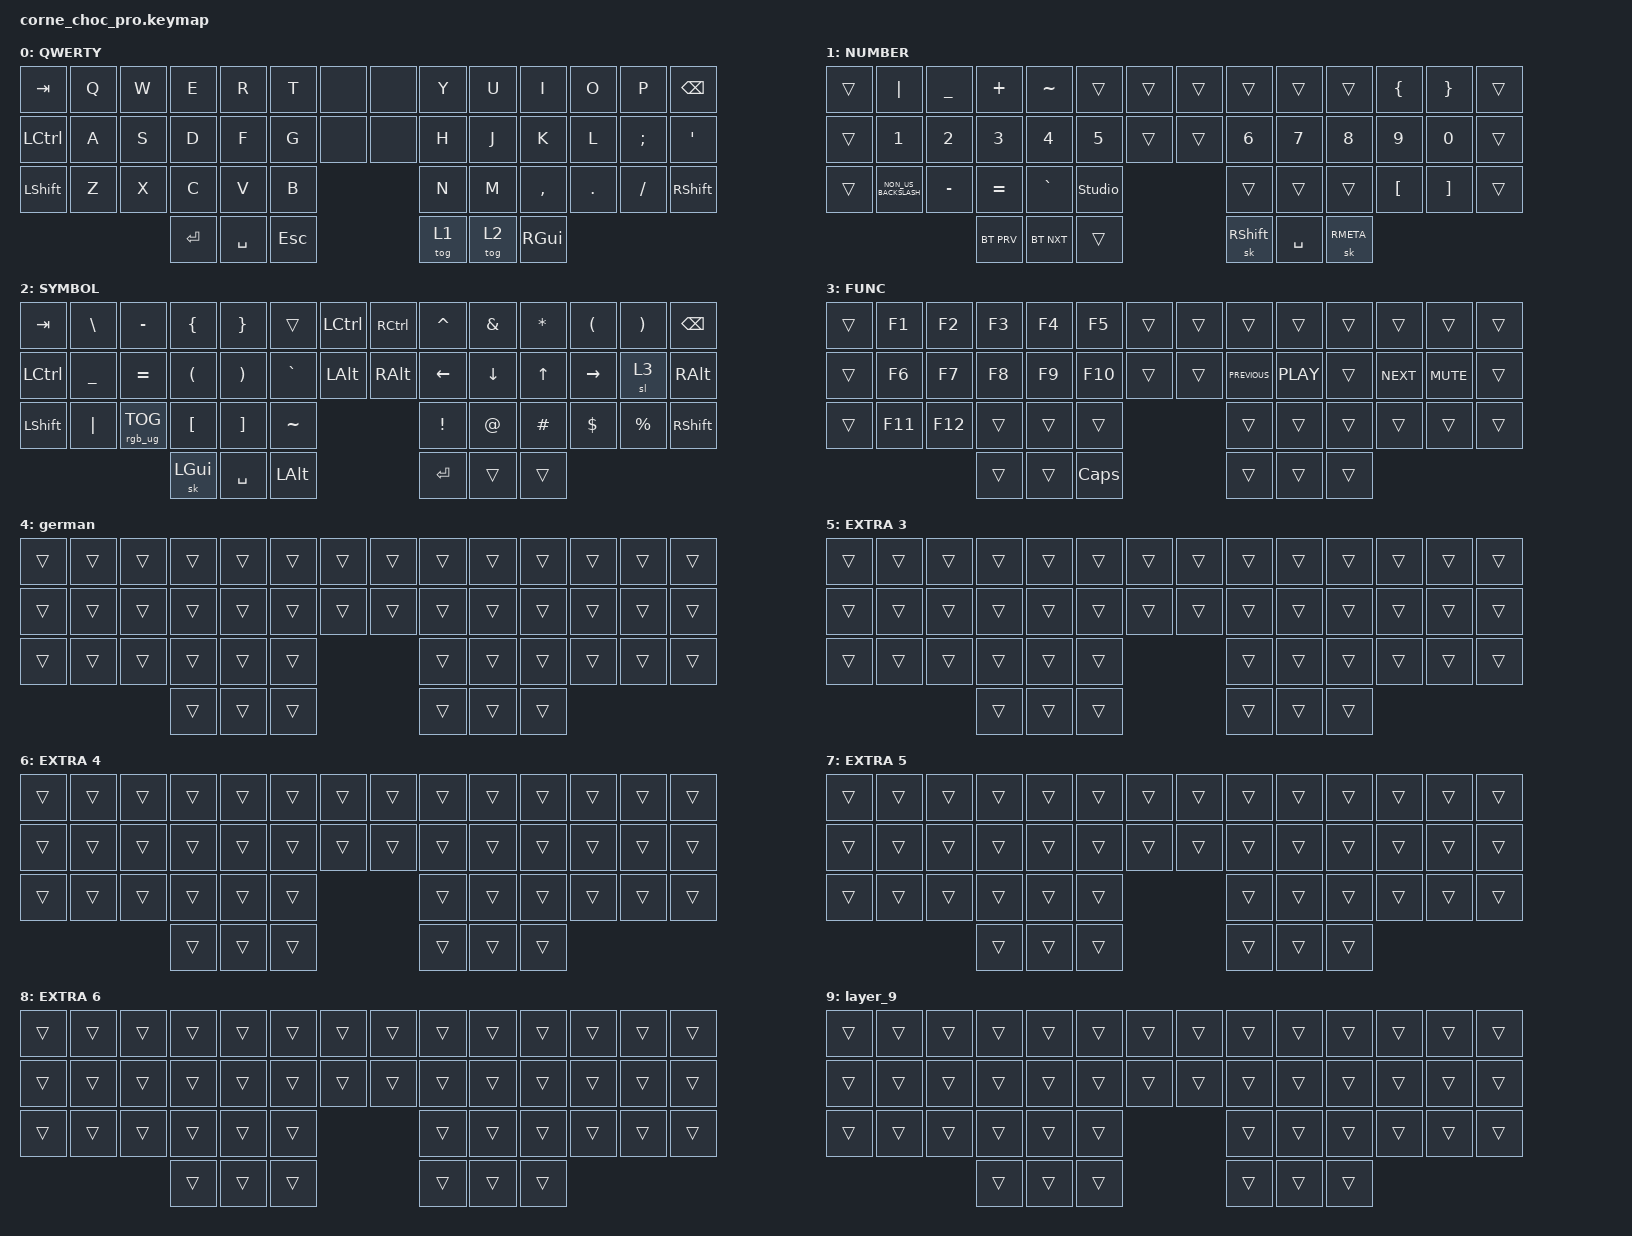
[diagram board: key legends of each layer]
/*
 * Copyright (c) 2020 The ZMK Contributors
 *
 * SPDX-License-Identifier: MIT
 */

#include <behaviors.dtsi>
#include <dt-bindings/zmk/bt.h>
#include <dt-bindings/zmk/keys.h>
#include <dt-bindings/zmk/rgb.h>

&sl { release-after-ms = <3000>; };

/ {
    chosen { zmk,physical-layout = &default_layout; };
};

/ {
    behaviors {
        hold_move_and_tap: hold_move_and_tap {
            compatible = "zmk,behavior-hold-tap";
            label = "HOLD_MOVE_AND_TAP";
            bindings = <&mo>, <&kp>;

            #binding-cells = <2>;
            hold-trigger-key-positions = <42 43>;
            tapping-term-ms = <150>;
            flavor = "hold-preferred";
        };
    };

    combos {
        compatible = "zmk,combos";

        esc_vim {
            bindings = <&kp ESCAPE>;
            key-positions = <22 23>;
        };
    };

    keymap {
        compatible = "zmk,keymap";

        default_layer {
            display-name = "QWERTY";

            // --------------------------------------------------------------------------------
            // |  TAB |  Q  |  W  |  E  |  R  |  T  |  MUTE |  PP   |  Y  |  U   |  I  |  O  |  P  | BSPC |
            // | CTRL |  A  |  S  |  D  |  F  |  G  |  LALT |  RALT |  H  |  J   |  K  |  L  |  ;  |  '   |
            // | SHFT |  Z  |  X  |  C  |  V  |  B  |               |  N  |  M   |  ,  |  .  |  /  | ESC  |
            //                    | GUI | LWR | SPC |               | ENT | RSE  | ALT |

            bindings = <
&kp TAB           &kp Q  &kp W  &kp E      &kp R      &kp T       &none  &none  &kp Y   &kp U   &kp I          &kp O    &kp P     &kp BSPC
&kp LEFT_CONTROL  &kp A  &kp S  &kp D      &kp F      &kp G       &none  &none  &kp H   &kp J   &kp K          &kp L    &kp SEMI  &kp SQT
&kp LSHFT         &kp Z  &kp X  &kp C      &kp V      &kp B                     &kp N   &kp M   &kp COMMA      &kp DOT  &kp FSLH  &kp RSHFT
                                &kp ENTER  &kp SPACE  &kp ESCAPE                &tog 1  &tog 2  &kp RIGHT_GUI
            >;
        };

        NUMBER {
            display-name = "NUMBER";

            // -----------------------------------------------------------------------------------------
            // |  TAB |  !  |  @  |  #  |  $  |  %  | LCTRL | RCTRL |  ^  |  &  |  *  |  (  |  )  | BSPC |
            // | CTRL | BT1 | BT2 | BT3 | BT4 | BT5   |  LALT  | RALT  | LFT | DWN |  UP | RGT |     |      |
            // | SHFT | BTCR| RGB | RST | BOOT| Unlock|        |       |     |     |     |     |     |      |
            //                    | GUI |     | SPC   |        | ENT   |     | ALT |

            bindings = <
&trans  &kp PIPE              &kp UNDERSCORE  &kp PLUS      &kp TILDE     &trans          &trans  &trans  &trans           &trans        &trans        &kp LEFT_BRACE    &kp RIGHT_BRACE    &trans
&trans  &kp NUMBER_1          &kp NUMBER_2    &kp NUMBER_3  &kp NUMBER_4  &kp NUMBER_5    &trans  &trans  &kp NUMBER_6     &kp NUMBER_7  &kp NUMBER_8  &kp NUMBER_9      &kp NUMBER_0       &trans
&trans  &kp NON_US_BACKSLASH  &kp MINUS       &kp EQUAL     &kp GRAVE     &studio_unlock                  &trans           &trans        &trans        &kp LEFT_BRACKET  &kp RIGHT_BRACKET  &trans
                                              &bt BT_PRV    &bt BT_NXT    &trans                          &sk RIGHT_SHIFT  &kp SPACE     &sk RMETA
            >;
        };

        SYMBOL {
            display-name = "SYMBOL";

            // -----------------------------------------------------------------------------------------
            // |  TAB |  !  |  @  |  #  |  $  |  %  | LCTRL | RCTRL |  ^  |  &  |  *  |  (  |  )  | BSPC |
            // | CTRL |     |     |     |     |     |  LALT | RALT  |  -  |  =  |  [  |  ]  |  \  |  `   |
            // | SHFT |     |     |     |     |     |               |  _  |  +  |  {  |  }  | "|" |  ~   |
            //                    | GUI |     | SPC |               | ENT |     | ALT |

            bindings = <
&kp TAB    &kp BACKSLASH  &kp MINUS        &kp LEFT_BRACE        &kp RIGHT_BRACE        &trans        &kp LCTRL  &kp RCTRL  &kp CARET       &kp AMPS        &kp ASTRK     &kp LPAR    &kp RPAR   &kp BSPC
&kp LCTRL  &kp UNDER      &kp EQUAL        &kp LEFT_PARENTHESIS  &kp RIGHT_PARENTHESIS  &kp GRAVE     &kp LALT   &kp RALT   &kp LEFT_ARROW  &kp DOWN_ARROW  &kp UP_ARROW  &kp RIGHT   &sl 3      &kp RIGHT_ALT
&kp LSHFT  &kp PIPE       &rgb_ug RGB_TOG  &kp LEFT_BRACKET      &kp RIGHT_BRACKET      &kp TILDE                           &kp EXCL        &kp AT          &kp HASH      &kp DOLLAR  &kp PRCNT  &kp RIGHT_SHIFT
                                           &sk LEFT_GUI          &kp SPACE              &kp LEFT_ALT                        &kp RET         &trans          &trans
            >;
        };

        FUNCTIONS {
            display-name = "FUNC";
            bindings = <
&trans  &kp F1   &kp F2   &kp F3  &kp F4  &kp F5        &trans  &trans  &trans          &trans      &trans  &trans      &trans      &trans
&trans  &kp F6   &kp F7   &kp F8  &kp F9  &kp F10       &trans  &trans  &kp C_PREVIOUS  &kp C_PLAY  &trans  &kp C_NEXT  &kp K_MUTE  &trans
&trans  &kp F11  &kp F12  &trans  &trans  &trans                        &trans          &trans      &trans  &trans      &trans      &trans
                          &trans  &trans  &kp CAPSLOCK                  &trans          &trans      &trans
            >;
        };

        Language_symbols_de {
            display-name = "german";
            bindings = <
&trans  &trans  &trans  &trans  &trans  &trans  &trans  &trans  &trans  &trans  &trans  &trans  &trans  &trans
&trans  &trans  &trans  &trans  &trans  &trans  &trans  &trans  &trans  &trans  &trans  &trans  &trans  &trans
&trans  &trans  &trans  &trans  &trans  &trans                  &trans  &trans  &trans  &trans  &trans  &trans
                        &trans  &trans  &trans                  &trans  &trans  &trans
            >;
        };

        extra_layer_3 {
            display-name = "EXTRA 3";
            bindings = <
&trans  &trans  &trans  &trans  &trans  &trans  &trans  &trans  &trans  &trans  &trans  &trans  &trans  &trans
&trans  &trans  &trans  &trans  &trans  &trans  &trans  &trans  &trans  &trans  &trans  &trans  &trans  &trans
&trans  &trans  &trans  &trans  &trans  &trans                  &trans  &trans  &trans  &trans  &trans  &trans
                        &trans  &trans  &trans                  &trans  &trans  &trans
            >;
        };

        extra_layer_4 {
            display-name = "EXTRA 4";
            bindings = <
&trans  &trans  &trans  &trans  &trans  &trans  &trans  &trans  &trans  &trans  &trans  &trans  &trans  &trans
&trans  &trans  &trans  &trans  &trans  &trans  &trans  &trans  &trans  &trans  &trans  &trans  &trans  &trans
&trans  &trans  &trans  &trans  &trans  &trans                  &trans  &trans  &trans  &trans  &trans  &trans
                        &trans  &trans  &trans                  &trans  &trans  &trans
            >;
        };

        extra_layer_5 {
            display-name = "EXTRA 5";
            bindings = <
&trans  &trans  &trans  &trans  &trans  &trans  &trans  &trans  &trans  &trans  &trans  &trans  &trans  &trans
&trans  &trans  &trans  &trans  &trans  &trans  &trans  &trans  &trans  &trans  &trans  &trans  &trans  &trans
&trans  &trans  &trans  &trans  &trans  &trans                  &trans  &trans  &trans  &trans  &trans  &trans
                        &trans  &trans  &trans                  &trans  &trans  &trans
            >;
        };

        extra_layer_6 {
            display-name = "EXTRA 6";
            bindings = <
&trans  &trans  &trans  &trans  &trans  &trans  &trans  &trans  &trans  &trans  &trans  &trans  &trans  &trans
&trans  &trans  &trans  &trans  &trans  &trans  &trans  &trans  &trans  &trans  &trans  &trans  &trans  &trans
&trans  &trans  &trans  &trans  &trans  &trans                  &trans  &trans  &trans  &trans  &trans  &trans
                        &trans  &trans  &trans                  &trans  &trans  &trans
            >;
        };

        layer_9 {
            bindings = <
&trans  &trans  &trans  &trans  &trans  &trans  &trans  &trans  &trans  &trans  &trans  &trans  &trans  &trans
&trans  &trans  &trans  &trans  &trans  &trans  &trans  &trans  &trans  &trans  &trans  &trans  &trans  &trans
&trans  &trans  &trans  &trans  &trans  &trans                  &trans  &trans  &trans  &trans  &trans  &trans
                        &trans  &trans  &trans                  &trans  &trans  &trans
            >;
        };
    };
};
